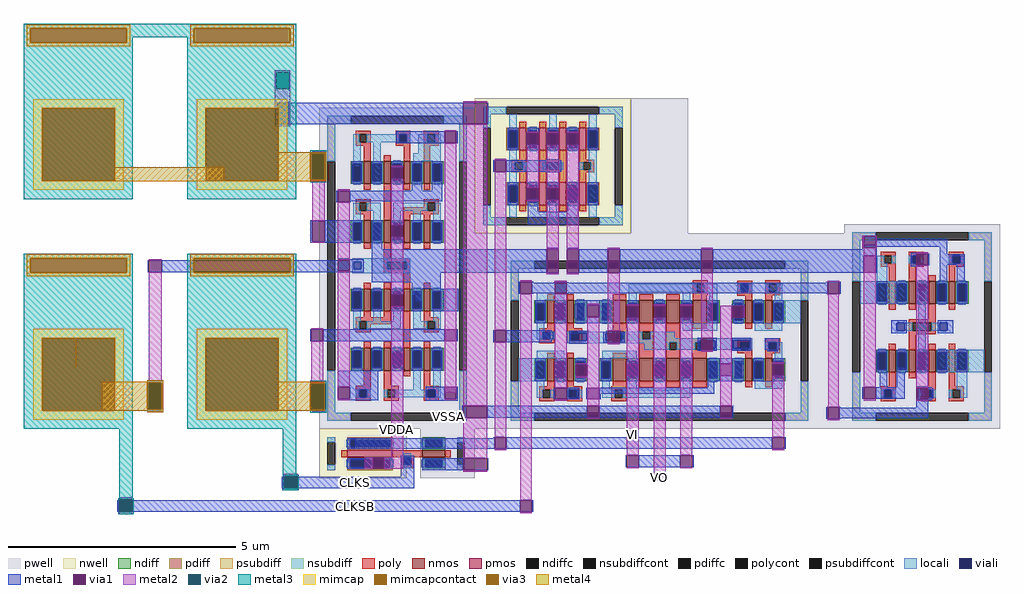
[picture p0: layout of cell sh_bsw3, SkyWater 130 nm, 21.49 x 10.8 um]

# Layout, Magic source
magic
tech sky130A
magscale 1 2
<< nwell >>
rect 1003 1003 1055 1067
rect 918 957 964 985
rect 1094 929 1140 985
<< pwell >>
rect 1372 861 1626 1455
rect 686 791 2316 861
rect 536 776 2316 791
rect 536 770 2338 776
rect 536 740 1982 770
rect 600 0 1982 740
rect 2068 0 2338 770
rect 2629 85 2681 134
<< pdiff >>
rect 1045 1009 1055 1036
<< viali >>
rect 1262 387 1333 421
rect 1673 355 1744 389
<< metal1 >>
rect -196 1342 -183 1436
rect -131 1342 635 1436
rect 739 1342 745 1436
rect 1003 1303 1055 1309
rect 1003 1245 1055 1251
rect 766 1132 772 1184
rect 824 1132 1066 1184
rect 1003 1061 1055 1067
rect 1003 1003 1055 1009
rect 918 957 964 985
rect 1094 957 1140 985
rect -39 917 138 919
rect -39 825 -31 917
rect 25 825 138 917
rect 918 901 1140 957
rect -39 819 138 825
rect 2392 806 2450 811
rect 1003 791 1055 797
rect -756 690 -750 742
rect -694 690 196 742
rect 536 687 1003 791
rect 1003 681 1055 687
rect 1091 791 1143 797
rect 2392 791 2456 806
rect 1143 687 1271 791
rect 1323 687 1682 791
rect 1734 762 2456 791
rect 1734 687 2398 762
rect 2450 687 2456 762
rect 1091 681 1143 687
rect 879 595 885 647
rect 937 644 943 647
rect 2233 644 2239 647
rect 937 598 2239 644
rect 937 595 943 598
rect 2233 595 2239 598
rect 2291 595 2297 647
rect -40 386 -34 438
rect 18 386 552 438
rect 604 386 610 438
rect 766 382 772 434
rect 824 382 1024 434
rect 1265 427 1271 431
rect 1250 421 1271 427
rect 1323 427 1329 431
rect 1323 421 1345 427
rect 1250 387 1262 421
rect 1333 387 1345 421
rect 1250 381 1271 387
rect 1265 379 1271 381
rect 1323 381 1345 387
rect 1667 398 1750 401
rect 1667 389 1682 398
rect 1734 389 1750 398
rect 1323 379 1329 381
rect 1667 355 1673 389
rect 1744 355 1750 389
rect 1667 346 1682 355
rect 1734 346 1750 355
rect 1667 343 1750 346
rect 1996 287 2048 293
rect 1996 229 2048 235
rect 2635 134 2681 183
rect 629 50 635 102
rect 739 50 1181 102
rect 1233 50 1765 102
rect 1817 50 1823 102
rect 2233 44 2239 96
rect 2291 93 2297 96
rect 2629 93 2681 134
rect 2291 47 2681 93
rect 2291 44 2297 47
rect 766 -42 772 -36
rect 158 -88 772 -42
rect 824 -88 1996 -36
rect 2048 -88 2054 -36
rect 229 -176 235 -124
rect 287 -176 293 -124
rect 360 -210 418 -118
rect 454 -182 635 -130
rect 739 -182 745 -130
rect 1349 -168 1355 -116
rect 1407 -168 1591 -116
rect 1643 -168 1649 -116
rect -164 -262 -158 -210
rect -102 -262 418 -210
rect -889 -366 -880 -314
rect -824 -366 885 -314
rect 937 -366 943 -314
<< via1 >>
rect -183 1342 -131 1436
rect 635 1342 739 1436
rect 1003 1251 1055 1303
rect 772 1132 824 1184
rect 1003 1009 1055 1061
rect -31 825 25 917
rect -750 690 -694 742
rect 1003 687 1055 791
rect 1091 687 1143 791
rect 1271 687 1323 791
rect 1682 687 1734 791
rect 2398 687 2450 762
rect 885 595 937 647
rect 2239 595 2291 647
rect -34 386 18 438
rect 552 386 604 438
rect 772 382 824 434
rect 1271 421 1323 431
rect 1271 387 1323 421
rect 1271 379 1323 387
rect 1682 389 1734 398
rect 1682 355 1734 389
rect 1682 346 1734 355
rect 1996 235 2048 287
rect 635 50 739 102
rect 1181 50 1233 102
rect 1765 50 1817 102
rect 2239 44 2291 96
rect 772 -88 824 -36
rect 1996 -88 2048 -36
rect 235 -176 287 -124
rect 635 -182 739 -130
rect 1355 -168 1407 -116
rect 1591 -168 1643 -116
rect -158 -262 -102 -210
rect -880 -366 -824 -314
rect 885 -366 937 -314
<< metal2 >>
rect -196 1570 -127 1579
rect -196 1498 -189 1570
rect -133 1498 -127 1570
rect -196 1436 -127 1498
rect -196 1342 -183 1436
rect -131 1342 -127 1436
rect -196 1333 -127 1342
rect 635 1436 739 1442
rect -31 1214 25 1223
rect -31 917 25 1097
rect -31 819 25 825
rect -750 742 -694 748
rect -750 203 -694 690
rect -750 77 -694 86
rect -34 438 18 444
rect -34 210 18 386
rect -34 201 25 210
rect -34 84 -31 201
rect -34 79 25 84
rect -31 75 25 79
rect 317 -124 369 404
rect 552 160 604 288
rect 201 -176 235 -124
rect 287 -176 369 -124
rect 635 102 739 1342
rect 1003 1303 1055 1309
rect 635 -130 739 50
rect 772 1184 824 1190
rect 772 434 824 1132
rect 1003 1061 1055 1251
rect 1003 791 1055 1009
rect 1003 681 1055 687
rect 1091 791 1143 1139
rect 1091 681 1143 687
rect 1271 791 1323 797
rect 772 -36 824 382
rect 772 -94 824 -88
rect 885 647 937 654
rect 635 -188 739 -182
rect -158 -206 -95 -197
rect -158 -210 -151 -206
rect -163 -262 -158 -210
rect -163 -271 -95 -262
rect -880 -310 -824 -301
rect -880 -375 -824 -366
rect 885 -314 937 595
rect 1271 431 1323 687
rect 1271 373 1323 379
rect 1682 791 1734 797
rect 1682 398 1734 687
rect 2239 647 2291 653
rect 2239 589 2291 595
rect 1181 102 1233 234
rect 1181 44 1233 50
rect 1355 -116 1407 377
rect 1355 -174 1407 -168
rect 1473 -228 1525 373
rect 1591 -116 1643 360
rect 1682 340 1734 346
rect 1765 102 1817 343
rect 1765 44 1817 50
rect 1996 287 2048 293
rect 1996 -36 2048 235
rect 2242 102 2288 589
rect 2239 96 2291 102
rect 2239 38 2291 44
rect 1996 -94 2048 -88
rect 1591 -174 1643 -168
rect 885 -372 937 -366
<< via2 >>
rect -189 1498 -133 1570
rect -31 1097 25 1214
rect -750 86 -694 203
rect -31 84 25 201
rect -151 -210 -95 -206
rect -151 -262 -102 -210
rect -102 -262 -95 -210
rect -880 -314 -824 -310
rect -880 -366 -824 -314
<< metal3 >>
rect -196 1570 -127 1579
rect -196 1498 -189 1570
rect -133 1498 -127 1570
rect -40 1214 31 1226
rect -40 1097 -39 1214
rect 25 1097 31 1214
rect -40 1085 31 1097
rect -758 203 -687 214
rect -694 86 -687 203
rect -758 73 -687 86
rect -40 201 31 212
rect 25 84 31 201
rect -40 71 31 84
rect -880 -305 -820 10
rect -160 -201 -100 0
rect -160 -206 -90 -201
rect -160 -262 -151 -206
rect -95 -262 -90 -206
rect -160 -271 -90 -262
rect -886 -310 -816 -305
rect -886 -366 -880 -310
rect -824 -366 -816 -310
rect -886 -376 -816 -366
<< via3 >>
rect -39 1097 -31 1214
rect -31 1097 25 1214
rect -758 86 -750 203
rect -750 86 -694 203
rect -40 84 -31 201
rect -31 84 24 201
<< metal4 >>
rect -179 1214 31 1219
rect -179 1097 -39 1214
rect 25 1097 31 1214
rect -179 1091 31 1097
rect -1073 273 -1069 401
rect -758 207 -687 214
rect -957 203 -687 207
rect -957 86 -758 203
rect -694 86 -687 203
rect -957 79 -687 86
rect -179 201 25 207
rect -179 84 -40 201
rect 24 84 25 201
rect -179 79 25 84
rect -758 73 -687 79
use cap_bsw  cap_bsw_1
transform 0 -1 -1234 1 0 -1462
box 1462 -1134 3246 66
use inv_bsw  inv_bsw_0
transform 0 -1 563 1 0 -215
box -3 -123 215 563
use ncell_bsw  ncell_bsw_1
transform 1 0 -4653 0 1 1676
box 4653 -1676 5339 -261
use ncell_bsw_dischrg  ncell_bsw_dischrg_0
transform 1 0 2450 0 1 1725
box -138 -1725 548 -824
use ncell_bsw_sw  ncell_bsw_sw_1
transform 1 0 1311 0 1 3662
box -503 -3662 879 -2886
use pcell_bsw_dischrg  pcell_bsw_dischrg_0
transform 1 0 75 0 1 1310
box 611 -449 1297 145
<< labels >>
flabel metal2 s 342 -3 342 -3 0 FreeSans 320 0 0 0 VDDA
port 1 nsew
flabel metal1 s 162 -237 162 -237 0 FreeSans 320 0 0 0 CLKS
port 2 nsew
flabel metal1 s 161 -342 161 -342 0 FreeSans 320 0 0 0 CLKSB
port 3 nsew
flabel metal2 s 1381 -23 1381 -23 0 FreeSans 320 0 0 0 VI
port 4 nsew
flabel locali s 570 54 570 54 0 FreeSans 320 0 0 0 VSSA
port 5 nsew
flabel metal2 s 1499 -215 1499 -215 0 FreeSans 320 0 0 0 VO
port 6 nsew
<< end >>

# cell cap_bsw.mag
magic
tech sky130A
magscale 1 2
<< metal3 >>
rect 3186 -654 3246 -403
<< metal4 >>
rect 2553 -815 2613 -335
use sky130_fd_pr__cap_mim_m3_1_UCPR8Z  sky130_fd_pr__cap_mim_m3_1_UCPR8Z_0
transform 1 0 1848 0 1 -174
box -386 -240 386 240
use sky130_fd_pr__cap_mim_m3_1_VCTT89  sky130_fd_pr__cap_mim_m3_1_VCTT89_0
transform 1 0 2860 0 1 -894
box -386 -240 386 240
use sky130_fd_pr__cap_mim_m3_1_VCTT89  sky130_fd_pr__cap_mim_m3_1_VCTT89_1
transform 1 0 2860 0 1 -174
box -386 -240 386 240
use sky130_fd_pr__cap_mim_m3_1_VCTT89  XC2
transform 1 0 1848 0 1 -894
box -386 -240 386 240
<< labels >>
flabel metal4 s 1703 -174 1703 -174 0 FreeSans 320 0 0 0 VPBT1
port 1 nsew
flabel metal3 s 2043 -172 2043 -172 0 FreeSans 320 0 0 0 VNBT1
port 2 nsew
flabel metal4 s 1698 -895 1698 -895 0 FreeSans 320 0 0 0 VPBT2
port 3 nsew
flabel metal4 s 2713 -174 2713 -174 0 FreeSans 320 0 0 0 VPBT3
port 4 nsew
flabel metal3 s 3085 -174 3085 -174 0 FreeSans 320 0 0 0 VNBT3
port 5 nsew
flabel metal3 s 2050 -899 2050 -899 0 FreeSans 320 0 0 0 CLKS
port 6 nsew
<< end >>

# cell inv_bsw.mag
magic
tech sky130A
magscale 1 2
<< nwell >>
rect -3 501 215 563
rect 33 471 179 501
<< pwell >>
rect -3 -123 215 118
<< psubdiff >>
rect 33 -79 57 -45
rect 155 -79 179 -45
<< nsubdiff >>
rect 33 493 57 527
rect 155 493 179 527
<< psubdiffcont >>
rect 57 -79 155 -45
<< nsubdiffcont >>
rect 57 493 155 527
<< poly >>
rect 91 201 121 213
rect 41 191 121 201
rect 41 157 57 191
rect 91 157 121 191
rect 41 147 121 157
rect 91 134 121 147
<< polycont >>
rect 57 157 91 191
<< locali >>
rect 33 493 57 527
rect 155 493 179 527
rect 41 157 57 191
rect 91 157 107 191
rect 33 -79 57 -45
rect 155 -79 179 -45
<< viali >>
rect 57 157 91 191
<< metal1 >>
rect 37 191 97 203
rect 37 157 57 191
rect 91 157 97 191
rect 37 145 97 157
rect 127 104 173 242
use sky130_fd_pr__nfet_01v8_RH3MT7  sky130_fd_pr__nfet_01v8_RH3MT7_1
transform 1 0 106 0 1 59
box -73 -76 73 76
use sky130_fd_pr__pfet_01v8_2XU92K  sky130_fd_pr__pfet_01v8_2XU92K_1
transform 1 0 106 0 1 339
box -109 -162 109 162
<< labels >>
flabel metal1 s 74 174 74 174 0 FreeSans 160 0 0 0 IN
port 1 nsew
flabel metal1 s 151 174 151 174 0 FreeSans 160 0 0 0 OUT
port 2 nsew
flabel metal1 s 62 339 62 339 0 FreeSans 160 0 0 0 VPWR
port 3 nsew
flabel locali s 106 510 106 510 0 FreeSans 160 0 0 0 VPB
port 4 nsew
flabel metal1 s 62 59 62 59 0 FreeSans 160 0 0 0 VGND
port 5 nsew
flabel locali s 106 -62 106 -62 0 FreeSans 160 0 0 0 VNB
port 6 nsew
<< end >>

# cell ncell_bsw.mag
magic
tech sky130A
magscale 1 2
<< pwell >>
rect 4653 -1676 5339 -261
<< psubdiff >>
rect 4689 -332 4791 -297
rect 5201 -332 5303 -297
rect 4689 -497 4723 -332
rect 5269 -497 5303 -332
rect 4689 -1605 4723 -1419
rect 5269 -1605 5303 -1419
rect 4689 -1640 4791 -1605
rect 5201 -1640 5303 -1605
<< psubdiffcont >>
rect 4791 -332 5201 -297
rect 4689 -1419 4723 -497
rect 5269 -1419 5303 -497
rect 4791 -1640 5201 -1605
<< poly >>
rect 4813 -379 4879 -363
rect 4813 -413 4829 -379
rect 4863 -413 4879 -379
rect 4813 -429 4879 -413
rect 4989 -379 5055 -363
rect 4989 -413 5005 -379
rect 5039 -413 5055 -379
rect 4989 -429 5055 -413
rect 4849 -471 4879 -429
rect 5025 -471 5055 -429
rect 5113 -379 5179 -363
rect 5113 -413 5129 -379
rect 5163 -413 5179 -379
rect 5113 -429 5179 -413
rect 5113 -471 5143 -429
rect 4813 -681 4879 -665
rect 4813 -715 4829 -681
rect 4863 -715 4879 -681
rect 4813 -731 4879 -715
rect 4937 -731 4967 -623
rect 5113 -681 5179 -665
rect 5113 -701 5129 -681
rect 5025 -715 5129 -701
rect 5163 -715 5179 -681
rect 5025 -731 5179 -715
rect 4937 -925 4967 -883
rect 4937 -940 5055 -925
rect 4937 -974 4953 -940
rect 5039 -974 5055 -940
rect 4937 -991 5055 -974
rect 5025 -1033 5055 -991
rect 4813 -1201 4967 -1185
rect 4813 -1235 4829 -1201
rect 4863 -1215 4967 -1201
rect 4863 -1235 4879 -1215
rect 4813 -1251 4879 -1235
rect 5025 -1293 5055 -1185
rect 5113 -1201 5179 -1185
rect 5113 -1235 5129 -1201
rect 5163 -1235 5179 -1201
rect 5113 -1251 5179 -1235
rect 4849 -1487 4879 -1419
rect 4813 -1503 4879 -1487
rect 4813 -1537 4829 -1503
rect 4863 -1537 4879 -1503
rect 4813 -1553 4879 -1537
rect 4937 -1487 4967 -1419
rect 5113 -1487 5143 -1419
rect 4937 -1503 5003 -1487
rect 4937 -1537 4953 -1503
rect 4987 -1537 5003 -1503
rect 4937 -1553 5003 -1537
rect 5113 -1503 5179 -1487
rect 5113 -1537 5129 -1503
rect 5163 -1537 5179 -1503
rect 5113 -1553 5179 -1537
<< polycont >>
rect 4829 -413 4863 -379
rect 5005 -413 5039 -379
rect 5129 -413 5163 -379
rect 4829 -715 4863 -681
rect 5129 -715 5163 -681
rect 4953 -974 5039 -940
rect 4829 -1235 4863 -1201
rect 5129 -1235 5163 -1201
rect 4829 -1537 4863 -1503
rect 4953 -1537 4987 -1503
rect 5129 -1537 5163 -1503
<< locali >>
rect 4689 -332 4791 -297
rect 5201 -332 5303 -297
rect 4689 -497 4723 -332
rect 4803 -413 4829 -379
rect 4863 -413 5005 -379
rect 5039 -413 5055 -379
rect 5089 -413 5129 -379
rect 5163 -413 5189 -379
rect 4803 -519 4837 -413
rect 4891 -598 4925 -413
rect 5089 -463 5189 -413
rect 5067 -493 5189 -463
rect 5089 -497 5189 -493
rect 5269 -497 5303 -332
rect 4803 -715 4829 -681
rect 4863 -715 4925 -681
rect 4803 -757 4837 -715
rect 4891 -758 4925 -715
rect 4979 -715 5129 -681
rect 5163 -715 5189 -681
rect 4979 -754 5013 -715
rect 5067 -766 5101 -715
rect 5155 -757 5189 -715
rect 4798 -940 5055 -924
rect 4798 -974 4805 -940
rect 4839 -974 4953 -940
rect 5039 -974 5055 -940
rect 4798 -991 5055 -974
rect 4803 -1201 4837 -1163
rect 4891 -1201 4925 -1163
rect 4979 -1201 5013 -1163
rect 4803 -1235 4829 -1201
rect 4863 -1235 5013 -1201
rect 5067 -1201 5101 -1163
rect 5155 -1201 5189 -1163
rect 5067 -1235 5129 -1201
rect 5163 -1235 5189 -1201
rect 4689 -1605 4723 -1419
rect 5067 -1503 5101 -1417
rect 5155 -1503 5189 -1417
rect 4813 -1537 4829 -1503
rect 4863 -1537 4879 -1503
rect 4937 -1537 4953 -1503
rect 4987 -1537 5129 -1503
rect 5163 -1537 5189 -1503
rect 5269 -1605 5303 -1419
rect 4689 -1640 4791 -1605
rect 5201 -1640 5303 -1605
<< viali >>
rect 5005 -413 5039 -379
rect 4805 -974 4839 -940
rect 4829 -1537 4863 -1503
rect 5129 -1537 5163 -1503
<< metal1 >>
rect 4993 -379 5205 -366
rect 4993 -413 5005 -379
rect 5039 -413 5205 -379
rect 4993 -418 5205 -413
rect 5257 -418 5263 -366
rect 4993 -419 5045 -418
rect 4970 -523 5022 -517
rect 4970 -581 5022 -575
rect 5061 -627 5107 -586
rect 5149 -627 5195 -597
rect 4729 -679 4735 -627
rect 4787 -673 5195 -627
rect 4787 -679 4793 -673
rect 4725 -857 4797 -757
rect 4924 -762 4931 -757
rect 4885 -885 4931 -762
rect 4970 -779 5022 -773
rect 4970 -837 5022 -831
rect 4735 -928 4787 -925
rect 4735 -931 4849 -928
rect 4787 -940 4849 -931
rect 4787 -974 4805 -940
rect 4839 -974 4849 -940
rect 4787 -983 4849 -974
rect 4735 -986 4849 -983
rect 4735 -989 4787 -986
rect 4885 -1031 5189 -885
rect 5061 -1059 5189 -1031
rect 4970 -1084 5022 -1078
rect 5061 -1085 5107 -1059
rect 5079 -1112 5107 -1085
rect 4970 -1142 5022 -1136
rect 5195 -1159 5265 -1059
rect 4970 -1341 5022 -1335
rect 4970 -1399 5022 -1393
rect 4735 -1491 4913 -1419
rect 4787 -1503 4913 -1491
rect 4787 -1537 4829 -1503
rect 4863 -1537 4913 -1503
rect 4787 -1543 4913 -1537
rect 4735 -1549 4913 -1543
rect 5123 -1503 5205 -1491
rect 5123 -1537 5129 -1503
rect 5163 -1537 5205 -1503
rect 5123 -1543 5205 -1537
rect 5257 -1543 5263 -1491
rect 5123 -1553 5263 -1543
<< via1 >>
rect 5205 -418 5257 -366
rect 4970 -575 5022 -523
rect 4735 -679 4787 -627
rect 4970 -831 5022 -779
rect 4735 -983 4787 -931
rect 4970 -1136 5022 -1084
rect 4970 -1393 5022 -1341
rect 4735 -1543 4787 -1491
rect 5205 -1543 5257 -1491
<< metal2 >>
rect 5205 -366 5257 -360
rect 4970 -523 5022 -517
rect 4735 -627 4787 -621
rect 4735 -931 4787 -679
rect 4735 -1491 4787 -983
rect 4970 -779 5022 -575
rect 4970 -1084 5022 -831
rect 4970 -1341 5022 -1136
rect 4970 -1399 5022 -1393
rect 4735 -1549 4787 -1543
rect 5205 -1491 5257 -418
rect 5205 -1549 5257 -1543
use sky130_fd_pr__nfet_01v8_6J3TAM  sky130_fd_pr__nfet_01v8_6J3TAM_0
transform 1 0 5128 0 1 -807
box -73 -76 73 76
use sky130_fd_pr__nfet_01v8_6J3TAM  sky130_fd_pr__nfet_01v8_6J3TAM_1
transform 1 0 4952 0 1 -547
box -73 -76 73 76
use sky130_fd_pr__nfet_01v8_6J3TAM  sky130_fd_pr__nfet_01v8_6J3TAM_2
transform 1 0 5040 0 1 -547
box -73 -76 73 76
use sky130_fd_pr__nfet_01v8_6J3TAM  sky130_fd_pr__nfet_01v8_6J3TAM_3
transform 1 0 4864 0 1 -547
box -73 -76 73 76
use sky130_fd_pr__nfet_01v8_6J3TAM  sky130_fd_pr__nfet_01v8_6J3TAM_4
transform 1 0 5128 0 1 -1109
box -73 -76 73 76
use sky130_fd_pr__nfet_01v8_6J3TAM  sky130_fd_pr__nfet_01v8_6J3TAM_5
transform 1 0 4952 0 1 -807
box -73 -76 73 76
use sky130_fd_pr__nfet_01v8_6J3TAM  sky130_fd_pr__nfet_01v8_6J3TAM_6
transform 1 0 5040 0 1 -807
box -73 -76 73 76
use sky130_fd_pr__nfet_01v8_6J3TAM  sky130_fd_pr__nfet_01v8_6J3TAM_7
transform 1 0 4864 0 1 -807
box -73 -76 73 76
use sky130_fd_pr__nfet_01v8_6J3TAM  sky130_fd_pr__nfet_01v8_6J3TAM_8
transform 1 0 4864 0 1 -1109
box -73 -76 73 76
use sky130_fd_pr__nfet_01v8_6J3TAM  sky130_fd_pr__nfet_01v8_6J3TAM_9
transform 1 0 4952 0 1 -1109
box -73 -76 73 76
use sky130_fd_pr__nfet_01v8_6J3TAM  sky130_fd_pr__nfet_01v8_6J3TAM_10
transform 1 0 5040 0 1 -1109
box -73 -76 73 76
use sky130_fd_pr__nfet_01v8_6J3TAM  sky130_fd_pr__nfet_01v8_6J3TAM_11
transform 1 0 5128 0 1 -547
box -73 -76 73 76
use sky130_fd_pr__nfet_01v8_6J3TAM  sky130_fd_pr__nfet_01v8_6J3TAM_12
transform -1 0 4952 0 -1 -1369
box -73 -76 73 76
use sky130_fd_pr__nfet_01v8_6J3TAM  sky130_fd_pr__nfet_01v8_6J3TAM_13
transform -1 0 5040 0 -1 -1369
box -73 -76 73 76
use sky130_fd_pr__nfet_01v8_6J3TAM  sky130_fd_pr__nfet_01v8_6J3TAM_14
transform -1 0 5128 0 -1 -1369
box -73 -76 73 76
use sky130_fd_pr__nfet_01v8_6J3TAM  sky130_fd_pr__nfet_01v8_6J3TAM_15
transform -1 0 4864 0 -1 -1369
box -73 -76 73 76
<< labels >>
flabel metal2 s 4996 -1018 4996 -1018 0 FreeSans 320 0 0 0 VDDA
port 1 nsew
flabel locali s 4997 -313 4997 -313 0 FreeSans 320 0 0 0 VSSA
port 5 nsew
flabel metal2 s 4761 -1018 4761 -1018 0 FreeSans 320 0 0 0 VPBT1
port 2 nsew
flabel metal2 s 5232 -1018 5232 -1018 0 FreeSans 320 0 0 0 VPBT2
port 3 nsew
flabel metal1 s 4727 -810 4727 -810 0 FreeSans 320 0 0 0 VPBT3
port 4 nsew
<< end >>

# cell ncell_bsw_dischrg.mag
magic
tech sky130A
magscale 1 2
<< pwell >>
rect -138 -1725 548 -824
<< ndiff >>
rect 179 -1156 231 -1092
<< psubdiff >>
rect -102 -894 0 -860
rect 410 -894 512 -860
rect -102 -1074 -68 -894
rect 478 -1074 512 -894
rect -102 -1655 -68 -1476
rect 478 -1655 512 -1476
rect -102 -1689 0 -1655
rect 410 -1689 512 -1655
<< psubdiffcont >>
rect 0 -894 410 -860
rect -102 -1476 -68 -1074
rect 478 -1476 512 -1074
rect 0 -1689 410 -1655
<< poly >>
rect 22 -962 88 -946
rect 22 -996 38 -962
rect 72 -996 88 -962
rect 22 -1012 88 -996
rect 58 -1048 88 -1012
rect 146 -962 212 -946
rect 146 -996 162 -962
rect 196 -996 212 -962
rect 146 -1012 212 -996
rect 322 -962 388 -946
rect 322 -996 338 -962
rect 372 -996 388 -962
rect 322 -1012 388 -996
rect 146 -1048 176 -1012
rect 322 -1048 352 -1012
rect 234 -1242 264 -1199
rect 146 -1258 264 -1242
rect 146 -1292 162 -1258
rect 248 -1292 264 -1258
rect 146 -1308 264 -1292
rect 146 -1350 176 -1308
rect 58 -1538 88 -1476
rect 234 -1538 264 -1502
rect 22 -1553 88 -1538
rect 22 -1587 38 -1553
rect 72 -1587 88 -1553
rect 22 -1603 88 -1587
rect 198 -1553 264 -1538
rect 198 -1587 214 -1553
rect 248 -1587 264 -1553
rect 198 -1603 264 -1587
rect 322 -1538 352 -1476
rect 322 -1553 388 -1538
rect 322 -1587 338 -1553
rect 372 -1587 388 -1553
rect 322 -1603 388 -1587
<< polycont >>
rect 38 -996 72 -962
rect 162 -996 196 -962
rect 338 -996 372 -962
rect 162 -1292 248 -1258
rect 38 -1587 72 -1553
rect 214 -1587 248 -1553
rect 338 -1587 372 -1553
<< locali >>
rect -102 -894 0 -860
rect 410 -894 512 -860
rect -102 -1074 -68 -894
rect 6 -996 38 -962
rect 72 -996 88 -962
rect 146 -996 162 -962
rect 196 -996 212 -962
rect 322 -996 338 -962
rect 372 -996 388 -962
rect 6 -1074 52 -996
rect 478 -1074 512 -894
rect -68 -1174 140 -1074
rect 128 -1292 162 -1258
rect 248 -1292 282 -1258
rect 270 -1476 478 -1376
rect -102 -1655 -68 -1476
rect 358 -1553 404 -1476
rect 22 -1587 38 -1553
rect 72 -1587 88 -1553
rect 198 -1587 214 -1553
rect 248 -1587 264 -1553
rect 322 -1587 338 -1553
rect 372 -1587 404 -1553
rect 478 -1655 512 -1476
rect -102 -1689 0 -1655
rect 410 -1689 512 -1655
<< viali >>
rect 162 -996 196 -962
rect 338 -996 372 -962
rect 94 -1292 128 -1258
rect 282 -1292 316 -1258
rect 38 -1587 72 -1553
rect 214 -1587 248 -1553
<< metal1 >>
rect -58 -927 -52 -875
rect 0 -888 6 -875
rect 0 -922 316 -888
rect 0 -927 6 -922
rect 156 -953 198 -950
rect 156 -962 179 -953
rect 156 -996 162 -962
rect 156 -1005 179 -996
rect 231 -1005 237 -953
rect 282 -955 316 -922
rect 282 -962 392 -955
rect 282 -996 338 -962
rect 372 -996 392 -962
rect 282 -1002 392 -996
rect 156 -1008 198 -1005
rect 282 -1074 316 -1002
rect 358 -1074 392 -1002
rect 68 -1258 137 -1246
rect 68 -1292 94 -1258
rect 128 -1292 137 -1258
rect 68 -1304 137 -1292
rect 188 -1376 222 -1118
rect 273 -1258 342 -1246
rect 273 -1292 282 -1258
rect 316 -1292 342 -1258
rect 273 -1304 342 -1292
rect 18 -1541 52 -1464
rect 94 -1541 128 -1455
rect -58 -1593 -52 -1541
rect 0 -1553 128 -1541
rect 0 -1587 38 -1553
rect 72 -1587 128 -1553
rect 0 -1593 128 -1587
rect 179 -1541 231 -1538
rect 179 -1544 248 -1541
rect 231 -1547 248 -1544
rect 231 -1553 254 -1547
rect 248 -1587 254 -1553
rect 231 -1593 254 -1587
rect 231 -1596 248 -1593
rect 179 -1599 248 -1596
rect 179 -1602 231 -1599
<< via1 >>
rect -52 -927 0 -875
rect 179 -962 231 -953
rect 179 -996 196 -962
rect 196 -996 231 -962
rect 179 -1005 231 -996
rect -52 -1593 0 -1541
rect 179 -1553 231 -1544
rect 179 -1587 214 -1553
rect 214 -1587 231 -1553
rect 179 -1596 231 -1587
<< metal2 >>
rect -58 -927 -52 -875
rect 0 -927 6 -875
rect -52 -1541 0 -927
rect -52 -1602 0 -1593
rect 179 -953 231 -947
rect 179 -1544 231 -1005
rect 179 -1602 231 -1596
use sky130_fd_pr__nfet_01v8_6J3TAM  sky130_fd_pr__nfet_01v8_6J3TAM_0
transform 1 0 337 0 1 -1124
box -73 -76 73 76
use sky130_fd_pr__nfet_01v8_6J3TAM  sky130_fd_pr__nfet_01v8_6J3TAM_1
transform 1 0 73 0 1 -1124
box -73 -76 73 76
use sky130_fd_pr__nfet_01v8_6J3TAM  sky130_fd_pr__nfet_01v8_6J3TAM_2
transform 1 0 161 0 1 -1124
box -73 -76 73 76
use sky130_fd_pr__nfet_01v8_6J3TAM  sky130_fd_pr__nfet_01v8_6J3TAM_3
transform 1 0 249 0 1 -1124
box -73 -76 73 76
use sky130_fd_pr__nfet_01v8_6J3TAM  sky130_fd_pr__nfet_01v8_6J3TAM_4
transform 1 0 73 0 1 -1426
box -73 -76 73 76
use sky130_fd_pr__nfet_01v8_6J3TAM  sky130_fd_pr__nfet_01v8_6J3TAM_5
transform 1 0 161 0 1 -1426
box -73 -76 73 76
use sky130_fd_pr__nfet_01v8_6J3TAM  sky130_fd_pr__nfet_01v8_6J3TAM_6
transform 1 0 249 0 1 -1426
box -73 -76 73 76
use sky130_fd_pr__nfet_01v8_6J3TAM  sky130_fd_pr__nfet_01v8_6J3TAM_7
transform 1 0 337 0 1 -1426
box -73 -76 73 76
<< labels >>
flabel locali s 203 -1672 203 -1672 0 FreeSans 160 0 0 0 VSSA
port 4 nsew
flabel metal2 s -26 -1219 -26 -1219 0 FreeSans 160 0 0 0 VBOOT
port 3 nsew
flabel metal1 s 105 -1276 106 -1276 0 FreeSans 160 0 0 0 VDDA
port 1 nsew
flabel metal2 s 208 -979 209 -979 0 FreeSans 160 0 0 0 CLKSB
port 2 nsew
<< end >>

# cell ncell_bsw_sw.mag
magic
tech sky130A
magscale 1 2
<< pwell >>
rect -503 -3662 879 -2886
<< ndiff >>
rect -186 -3172 -134 -3120
rect 598 -3172 650 -3120
rect 510 -3427 562 -3375
<< psubdiff >>
rect -467 -2956 -365 -2922
rect 741 -2956 843 -2922
rect -467 -3096 -433 -2956
rect 809 -3096 843 -2956
rect -467 -3592 -433 -3452
rect 809 -3592 843 -3452
rect -467 -3626 -365 -3592
rect 741 -3626 843 -3592
<< psubdiffcont >>
rect -365 -2956 741 -2922
rect -467 -3452 -433 -3096
rect 809 -3452 843 -3096
rect -365 -3626 741 -3592
<< poly >>
rect 335 -3024 401 -3008
rect 335 -3058 351 -3024
rect 385 -3058 401 -3024
rect 335 -3074 401 -3058
rect 529 -3024 595 -3009
rect 529 -3058 545 -3024
rect 579 -3058 595 -3024
rect 529 -3075 595 -3058
rect 653 -3024 719 -3008
rect 653 -3058 669 -3024
rect 703 -3058 719 -3024
rect 653 -3074 719 -3058
rect -343 -3234 -277 -3218
rect -343 -3268 -327 -3234
rect -293 -3268 -277 -3234
rect -343 -3284 -277 -3268
rect -219 -3234 -153 -3218
rect -219 -3268 -203 -3234
rect -169 -3268 -153 -3234
rect -219 -3284 -153 -3268
rect -19 -3234 47 -3218
rect -19 -3268 -3 -3234
rect 31 -3268 47 -3234
rect -19 -3284 47 -3268
rect 99 -3234 159 -3222
rect 99 -3268 112 -3234
rect 146 -3268 159 -3234
rect 99 -3326 159 -3268
rect 217 -3280 277 -3222
rect 217 -3314 230 -3280
rect 264 -3314 277 -3280
rect 217 -3326 277 -3314
rect 329 -3280 395 -3264
rect 329 -3314 345 -3280
rect 379 -3314 395 -3280
rect 329 -3330 395 -3314
rect 529 -3280 595 -3264
rect 529 -3314 545 -3280
rect 579 -3314 595 -3280
rect 529 -3330 595 -3314
rect 653 -3280 719 -3264
rect 653 -3314 669 -3280
rect 703 -3314 719 -3280
rect 653 -3330 719 -3314
rect -343 -3490 -277 -3474
rect -343 -3524 -327 -3490
rect -293 -3524 -277 -3490
rect -343 -3540 -277 -3524
rect -219 -3490 -153 -3474
rect -219 -3524 -203 -3490
rect -169 -3524 -153 -3490
rect -219 -3540 -153 -3524
rect -25 -3490 41 -3474
rect -25 -3524 -9 -3490
rect 25 -3524 41 -3490
rect -25 -3540 41 -3524
<< polycont >>
rect 351 -3058 385 -3024
rect 545 -3058 579 -3024
rect 669 -3058 703 -3024
rect -327 -3268 -293 -3234
rect -203 -3268 -169 -3234
rect -3 -3268 31 -3234
rect 112 -3268 146 -3234
rect 230 -3314 264 -3280
rect 345 -3314 379 -3280
rect 545 -3314 579 -3280
rect 669 -3314 703 -3280
rect -327 -3524 -293 -3490
rect -203 -3524 -169 -3490
rect -9 -3524 25 -3490
<< locali >>
rect -467 -2956 -365 -2922
rect 741 -2956 843 -2922
rect -467 -3096 -433 -2956
rect 53 -3058 351 -3024
rect 385 -3058 441 -3024
rect 529 -3058 545 -3024
rect 579 -3058 595 -3024
rect 653 -3058 669 -3024
rect 703 -3058 729 -3024
rect -353 -3096 -231 -3062
rect 53 -3095 87 -3058
rect 289 -3108 323 -3058
rect 407 -3108 441 -3058
rect 695 -3095 729 -3058
rect 809 -3096 843 -2956
rect 689 -3196 809 -3096
rect -353 -3234 -319 -3199
rect 289 -3230 441 -3196
rect 607 -3230 729 -3196
rect -353 -3268 -327 -3234
rect -293 -3268 -277 -3234
rect -219 -3275 -203 -3234
rect -169 -3241 -3 -3234
rect -132 -3268 -3 -3241
rect 31 -3268 112 -3234
rect 146 -3264 255 -3234
rect 146 -3268 595 -3264
rect -132 -3272 595 -3268
rect -132 -3275 513 -3272
rect -219 -3280 513 -3275
rect -219 -3284 230 -3280
rect 121 -3314 230 -3284
rect 264 -3314 345 -3280
rect 379 -3306 513 -3280
rect 584 -3306 595 -3272
rect 379 -3314 545 -3306
rect 579 -3314 595 -3306
rect 653 -3314 669 -3280
rect 703 -3314 729 -3280
rect -353 -3352 -231 -3318
rect -65 -3352 87 -3318
rect 695 -3349 729 -3314
rect -433 -3452 -313 -3352
rect -467 -3592 -433 -3452
rect -353 -3490 -319 -3456
rect -65 -3490 -31 -3456
rect 53 -3490 87 -3456
rect 289 -3490 323 -3456
rect 607 -3486 729 -3452
rect -353 -3524 -327 -3490
rect -293 -3524 -277 -3490
rect -219 -3524 -211 -3490
rect -169 -3524 -153 -3490
rect -65 -3524 -9 -3490
rect 25 -3524 323 -3490
rect 809 -3592 843 -3452
rect -467 -3626 -365 -3592
rect 741 -3626 843 -3592
<< viali >>
rect 545 -3058 579 -3024
rect -327 -3268 -293 -3234
rect -203 -3268 -169 -3241
rect -169 -3268 -132 -3241
rect -203 -3275 -132 -3268
rect 513 -3280 584 -3272
rect 513 -3306 545 -3280
rect 545 -3306 579 -3280
rect 579 -3306 584 -3280
rect 669 -3314 703 -3280
rect -211 -3524 -203 -3490
rect -203 -3524 -177 -3490
<< metal1 >>
rect -279 -3068 -273 -3016
rect -221 -3030 -215 -3016
rect 539 -3024 585 -3018
rect 533 -3030 545 -3024
rect -221 -3058 545 -3030
rect 579 -3058 591 -3024
rect -221 -3068 -215 -3058
rect 539 -3064 585 -3058
rect -183 -3114 -25 -3096
rect -186 -3118 -25 -3114
rect -186 -3170 -130 -3118
rect -78 -3170 -25 -3118
rect -186 -3178 -25 -3170
rect 44 -3120 96 -3114
rect 44 -3178 96 -3172
rect 162 -3120 214 -3114
rect 162 -3178 214 -3172
rect 280 -3120 332 -3114
rect 280 -3178 332 -3172
rect 506 -3120 562 -3114
rect 558 -3172 562 -3120
rect 506 -3178 562 -3172
rect -183 -3196 -25 -3178
rect -359 -3234 -287 -3228
rect -359 -3268 -327 -3234
rect -293 -3268 -281 -3234
rect -209 -3241 -126 -3229
rect -359 -3274 -287 -3268
rect -359 -3280 -295 -3274
rect -209 -3275 -203 -3241
rect -132 -3275 -126 -3241
rect -209 -3287 -126 -3275
rect 507 -3272 590 -3260
rect 507 -3306 513 -3272
rect 584 -3306 590 -3272
rect 507 -3318 590 -3306
rect 651 -3280 715 -3262
rect 651 -3314 669 -3280
rect 703 -3314 715 -3280
rect 663 -3320 709 -3314
rect -182 -3378 -130 -3372
rect -182 -3436 -130 -3430
rect 44 -3375 96 -3369
rect 44 -3433 96 -3427
rect 162 -3375 214 -3369
rect 162 -3433 214 -3427
rect 280 -3375 283 -3369
rect 311 -3375 332 -3369
rect 280 -3433 332 -3427
rect 401 -3375 559 -3352
rect 401 -3427 454 -3375
rect 506 -3427 559 -3375
rect 401 -3452 559 -3427
rect 401 -3480 429 -3452
rect -279 -3532 -273 -3480
rect -221 -3490 -165 -3480
rect -221 -3524 -211 -3490
rect -177 -3524 -165 -3490
rect -221 -3532 -165 -3524
rect -136 -3532 -130 -3480
rect -78 -3508 429 -3480
rect -78 -3532 -72 -3508
<< via1 >>
rect -273 -3068 -221 -3016
rect -130 -3170 -78 -3118
rect 44 -3172 96 -3120
rect 162 -3172 214 -3120
rect 280 -3172 332 -3120
rect 506 -3172 558 -3120
rect -182 -3430 -130 -3378
rect 44 -3427 96 -3375
rect 162 -3427 214 -3375
rect 280 -3427 332 -3375
rect 454 -3427 506 -3375
rect -273 -3532 -221 -3480
rect -130 -3532 -78 -3480
<< metal2 >>
rect -273 -3016 -221 -3010
rect -273 -3480 -221 -3068
rect -130 -3118 -78 -3112
rect -130 -3372 -78 -3170
rect -182 -3378 -78 -3372
rect -130 -3430 -78 -3378
rect -182 -3436 -78 -3430
rect 44 -3120 96 -3114
rect 44 -3375 96 -3172
rect 44 -3433 96 -3427
rect 162 -3120 214 -3114
rect 162 -3375 214 -3172
rect 162 -3433 214 -3427
rect 280 -3120 332 -3114
rect 280 -3375 332 -3172
rect 280 -3433 332 -3427
rect 454 -3375 506 -3120
rect 558 -3172 564 -3120
rect 454 -3433 506 -3427
rect -273 -3538 -221 -3532
rect -130 -3480 -78 -3436
rect -130 -3538 -78 -3532
use sky130_fd_pr__nfet_01v8_6J3TAM  sky130_fd_pr__nfet_01v8_6J3TAM_0
transform 1 0 -204 0 1 -3146
box -73 -76 73 76
use sky130_fd_pr__nfet_01v8_6J3TAM  sky130_fd_pr__nfet_01v8_6J3TAM_1
transform 1 0 580 0 1 -3402
box -73 -76 73 76
use sky130_fd_pr__nfet_01v8_6J3TAM  sky130_fd_pr__nfet_01v8_6J3TAM_2
transform 1 0 -204 0 1 -3402
box -73 -76 73 76
use sky130_fd_pr__nfet_01v8_6J3TAM  sky130_fd_pr__nfet_01v8_6J3TAM_3
transform 1 0 580 0 1 -3146
box -73 -76 73 76
use sky130_fd_pr__nfet_01v8_6J3TAM  sky130_fd_pr__nfet_01v8_6J3TAM_4
transform 1 0 668 0 1 -3146
box -73 -76 73 76
use sky130_fd_pr__nfet_01v8_6J3TAM  sky130_fd_pr__nfet_01v8_6J3TAM_5
transform 1 0 -292 0 1 -3402
box -73 -76 73 76
use sky130_fd_pr__nfet_01v8_6J3TAM  sky130_fd_pr__nfet_01v8_6J3TAM_6
transform 1 0 668 0 1 -3402
box -73 -76 73 76
use sky130_fd_pr__nfet_01v8_6J3TAM  sky130_fd_pr__nfet_01v8_6J3TAM_10
transform 1 0 -292 0 1 -3146
box -73 -76 73 76
use sky130_fd_pr__nfet_01v8_QS6TK8  sky130_fd_pr__nfet_01v8_QS6TK8_0
transform 1 0 11 0 1 -3146
box -88 -76 88 76
use sky130_fd_pr__nfet_01v8_QS6TK8  sky130_fd_pr__nfet_01v8_QS6TK8_1
transform 1 0 129 0 1 -3146
box -88 -76 88 76
use sky130_fd_pr__nfet_01v8_QS6TK8  sky130_fd_pr__nfet_01v8_QS6TK8_2
transform 1 0 247 0 1 -3146
box -88 -76 88 76
use sky130_fd_pr__nfet_01v8_QS6TK8  sky130_fd_pr__nfet_01v8_QS6TK8_3
transform 1 0 365 0 1 -3402
box -88 -76 88 76
use sky130_fd_pr__nfet_01v8_QS6TK8  sky130_fd_pr__nfet_01v8_QS6TK8_4
transform 1 0 365 0 1 -3146
box -88 -76 88 76
use sky130_fd_pr__nfet_01v8_QS6TK8  sky130_fd_pr__nfet_01v8_QS6TK8_5
transform 1 0 11 0 1 -3402
box -88 -76 88 76
use sky130_fd_pr__nfet_01v8_QS6TK8  sky130_fd_pr__nfet_01v8_QS6TK8_6
transform 1 0 129 0 1 -3402
box -88 -76 88 76
use sky130_fd_pr__nfet_01v8_QS6TK8  sky130_fd_pr__nfet_01v8_QS6TK8_7
transform 1 0 247 0 1 -3402
box -88 -76 88 76
<< labels >>
flabel metal2 s 71 -3290 71 -3290 0 FreeSans 320 0 0 0 VI
port 1 nsew
flabel metal1 s -188 -3255 -188 -3255 0 FreeSans 320 0 0 0 VBOOT
port 2 nsew
flabel metal2 s -104 -3331 -104 -3331 0 FreeSans 320 0 0 0 VNBT3
port 4 nsew
flabel metal1 s -342 -3252 -342 -3252 0 FreeSans 320 0 0 0 SWITCHING
port 5 nsew
flabel metal1 s 684 -3298 684 -3298 0 FreeSans 320 0 0 0 SWITCHING
flabel locali s 184 -2937 184 -2937 0 FreeSans 320 0 0 0 VSSA
port 6 nsew
flabel metal1 s -115 -3042 -115 -3042 0 FreeSans 320 0 0 0 VNBT1
port 3 nsew
flabel metal2 s 187 -3329 187 -3329 0 FreeSans 320 0 0 0 VO
port 7 nsew
<< end >>

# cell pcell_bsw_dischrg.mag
magic
tech sky130A
magscale 1 2
<< nwell >>
rect 611 -449 1297 145
<< nsubdiff >>
rect 647 75 749 109
rect 1159 75 1261 109
rect 647 17 681 75
rect 1227 17 1261 75
rect 647 -379 681 -325
rect 1227 -379 1261 -325
rect 647 -413 749 -379
rect 1159 -413 1261 -379
<< nsubdiffcont >>
rect 749 75 1159 109
rect 647 -325 681 17
rect 1227 -325 1261 17
rect 749 -413 1159 -379
<< poly >>
rect 807 -125 837 -109
rect 771 -135 837 -125
rect 771 -169 787 -135
rect 821 -169 837 -135
rect 771 -179 837 -169
rect 807 -199 837 -179
rect 895 -125 925 -109
rect 983 -125 1013 -109
rect 895 -135 1013 -125
rect 895 -169 925 -135
rect 983 -169 1013 -135
rect 895 -179 1013 -169
rect 895 -199 925 -179
rect 983 -199 1013 -179
rect 1071 -125 1101 -109
rect 1071 -135 1137 -125
rect 1071 -169 1087 -135
rect 1121 -169 1137 -135
rect 1071 -179 1137 -169
rect 1071 -199 1101 -179
<< polycont >>
rect 787 -169 821 -135
rect 925 -169 983 -135
rect 1087 -169 1121 -135
<< locali >>
rect 647 75 749 109
rect 1159 75 1261 109
rect 647 17 681 75
rect 761 21 795 75
rect 937 21 971 75
rect 1113 21 1147 75
rect 1227 17 1261 75
rect 761 -135 795 -87
rect 1113 -135 1147 -86
rect 761 -169 787 -135
rect 821 -169 837 -135
rect 909 -169 925 -135
rect 983 -169 999 -135
rect 1071 -169 1087 -135
rect 1121 -169 1147 -135
rect 761 -222 795 -169
rect 647 -379 681 -325
rect 761 -379 795 -327
rect 937 -379 971 -326
rect 1113 -379 1147 -169
rect 1227 -379 1261 -325
rect 647 -413 749 -379
rect 1159 -413 1261 -379
<< viali >>
rect 925 -169 983 -135
<< metal1 >>
rect 864 -1 892 17
rect 840 -7 892 -1
rect 840 -65 843 -59
rect 889 -65 892 -59
rect 1016 -1 1044 17
rect 1016 -7 1068 -1
rect 1016 -65 1068 -59
rect 925 -126 983 -123
rect 917 -135 991 -126
rect 917 -169 925 -135
rect 983 -169 991 -135
rect 917 -178 991 -169
rect 925 -181 983 -178
rect 840 -249 892 -243
rect 840 -307 892 -301
rect 1016 -249 1068 -243
rect 1016 -307 1068 -301
rect 861 -353 889 -320
rect 1019 -353 1047 -320
rect 861 -381 1047 -353
<< via1 >>
rect 840 -59 892 -7
rect 1016 -59 1068 -7
rect 840 -301 892 -249
rect 1016 -301 1068 -249
<< metal2 >>
rect 840 -7 892 -1
rect 840 -249 892 -59
rect 840 -307 892 -301
rect 1016 -7 1068 -1
rect 1016 -249 1068 -59
rect 1016 -307 1068 -301
use sky130_fd_pr__pfet_01v8_275TTJ  sky130_fd_pr__pfet_01v8_275TTJ_0
transform 1 0 910 0 1 -33
box -109 -112 109 112
use sky130_fd_pr__pfet_01v8_275TTJ  sky130_fd_pr__pfet_01v8_275TTJ_1
transform 1 0 998 0 1 -275
box -109 -112 109 112
use sky130_fd_pr__pfet_01v8_275TTJ  sky130_fd_pr__pfet_01v8_275TTJ_2
transform 1 0 910 0 1 -275
box -109 -112 109 112
use sky130_fd_pr__pfet_01v8_275TTJ  sky130_fd_pr__pfet_01v8_275TTJ_3
transform 1 0 822 0 1 -33
box -109 -112 109 112
use sky130_fd_pr__pfet_01v8_275TTJ  sky130_fd_pr__pfet_01v8_275TTJ_4
transform 1 0 1086 0 1 -33
box -109 -112 109 112
use sky130_fd_pr__pfet_01v8_275TTJ  sky130_fd_pr__pfet_01v8_275TTJ_6
transform 1 0 822 0 1 -275
box -109 -112 109 112
use sky130_fd_pr__pfet_01v8_275TTJ  sky130_fd_pr__pfet_01v8_275TTJ_7
transform 1 0 998 0 1 -33
box -109 -112 109 112
use sky130_fd_pr__pfet_01v8_275TTJ  sky130_fd_pr__pfet_01v8_275TTJ_8
transform 1 0 1086 0 1 -275
box -109 -112 109 112
<< labels >>
flabel viali 954 -152 954 -152 0 FreeSans 80 0 0 0 SWITCHING
port 2 nsew
flabel metal2 s 866 -275 866 -275 0 FreeSans 80 0 0 0 VBOOT
port 3 nsew
flabel locali s 954 92 954 92 0 FreeSans 320 0 0 0 VPBT3
port 1 nsew
<< end >>

# cell sky130_fd_pr__pfet_01v8_275TTJ: kit device sky130_fd_pr__pfet_01v8, w 0.5 l 0.15 m 1 nf 1 diffcov 100 polycov 100 guard 0 glc 1 grc 1 gtc 1 gbc 1 tbcov 100 rlcov 100 topc 0 botc 0 poverlap 0 doverlap 0 lmin 0.15 wmin 0.42 compatible {sky130_fd_pr__pfet_01v8 sky130_fd_pr__pfet_01v8_lvt sky130_fd_pr__pfet_01v8_hvt sky130_fd_pr__pfet_g5v0d10v5} full_metal 1 viasrc 100 viadrn 100 viagate 100 viagb 0 viagr 0 viagl 0 viagt 0

# cell sky130_fd_pr__nfet_01v8_6J3TAM: kit device sky130_fd_pr__nfet_01v8, w 0.5 l 0.15 m 1 nf 1 diffcov 100 polycov 100 guard 0 glc 1 grc 1 gtc 1 gbc 1 tbcov 100 rlcov 100 topc 0 botc 0 poverlap 0 doverlap 0 lmin 0.15 wmin 0.42 compatible {sky130_fd_pr__nfet_01v8 sky130_fd_pr__nfet_01v8_lvt sky130_fd_bs_flash__special_sonosfet_star sky130_fd_pr__nfet_g5v0d10v5 sky130_fd_pr__nfet_05v0_nvt sky130_fd_pr__nfet_03v3_nvt} full_metal 1 viasrc 100 viadrn 100 viagate 100 viagb 0 viagr 0 viagl 0 viagt 0

# cell sky130_fd_pr__nfet_01v8_QS6TK8: kit device sky130_fd_pr__nfet_01v8, w 0.5 l 0.3 m 1 nf 1 diffcov 100 polycov 100 guard 0 glc 1 grc 1 gtc 1 gbc 1 tbcov 100 rlcov 100 topc 0 botc 0 poverlap 0 doverlap 0 lmin 0.15 wmin 0.42 compatible {sky130_fd_pr__nfet_01v8 sky130_fd_pr__nfet_01v8_lvt sky130_fd_bs_flash__special_sonosfet_star sky130_fd_pr__nfet_g5v0d10v5 sky130_fd_pr__nfet_05v0_nvt sky130_fd_pr__nfet_03v3_nvt} full_metal 1 viasrc 100 viadrn 100 viagate 100 viagb 0 viagr 0 viagl 0 viagt 0

# cell sky130_fd_pr__nfet_01v8_RH3MT7: kit device sky130_fd_pr__nfet_01v8, w 0.5 l 0.150 m 1 nf 1 diffcov 100 polycov 100 guard 0 glc 1 grc 1 gtc 1 gbc 1 tbcov 100 rlcov 100 topc 0 botc 0 poverlap 0 doverlap 0 lmin 0.15 wmin 0.42 compatible {sky130_fd_pr__nfet_01v8 sky130_fd_pr__nfet_01v8_lvt sky130_fd_bs_flash__special_sonosfet_star sky130_fd_pr__nfet_g5v0d10v5 sky130_fd_pr__nfet_05v0_nvt sky130_fd_pr__nfet_03v3_nvt} full_metal 0 viasrc 100 viadrn 100 viagate 100 viagb 0 viagr 0 viagl 0 viagt 0

# cell sky130_fd_pr__pfet_01v8_2XU92K: kit device sky130_fd_pr__pfet_01v8, w 1 l 0.15 m 1 nf 1 diffcov 100 polycov 100 guard 0 glc 1 grc 1 gtc 1 gbc 1 tbcov 100 rlcov 100 topc 0 botc 0 poverlap 0 doverlap 0 lmin 0.15 wmin 0.42 compatible {sky130_fd_pr__pfet_01v8 sky130_fd_pr__pfet_01v8_lvt sky130_fd_pr__pfet_01v8_hvt sky130_fd_pr__pfet_g5v0d10v5} full_metal 0 viasrc 100 viadrn 100 viagate 100 viagb 0 viagr 0 viagl 0 viagt 0

# cell sky130_fd_pr__cap_mim_m3_1_UCPR8Z: kit device sky130_fd_pr__cap_mim_m3_1, w 2.0 l 2.0 val 9.52 carea 2.00 cperi 0.19 nx 1 ny 1 dummy 0 square 1 lmin 2.00 wmin 2.00 lmax 30.0 wmax 30.0 dc 0 bconnect 0 tconnect 0 ccov 100

# cell sky130_fd_pr__cap_mim_m3_1_VCTT89: kit device sky130_fd_pr__cap_mim_m3_1, w 2.0 l 2.0 val 9.52 carea 2.00 cperi 0.19 nx 1 ny 1 dummy 0 square 0 lmin 2.00 wmin 2.00 lmax 30.0 wmax 30.0 dc 0 bconnect 1 tconnect 1 ccov 100
